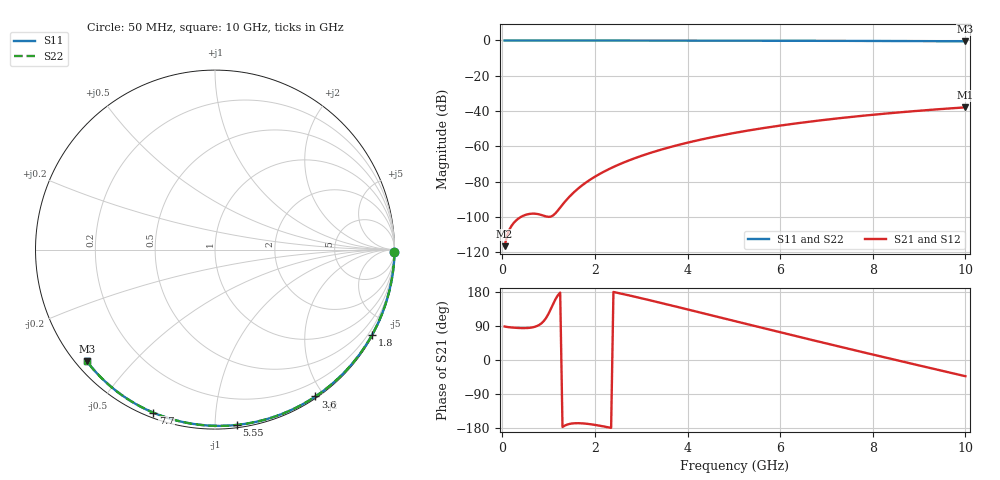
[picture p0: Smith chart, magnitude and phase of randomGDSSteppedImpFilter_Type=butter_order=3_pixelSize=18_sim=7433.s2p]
! freq	dB(S11)	phase(S11)	dB(S12)	phase(S12)
!  dB(S21)	phase(S21)	dB(S22)	phase(S22)
!S-par simulation data
#  GHz  S  DB  R 50
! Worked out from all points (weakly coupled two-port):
!   200 points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, 50 MHz to 10 GHz, reference 50 ohm
!   highest |S21| = -37.86 dB at 10 GHz (marker M1); lowest = -116.4 dB at 50 MHz (marker M2)
!   lowest |S11| = -0.5 dB at 10 GHz (marker M3), VSWR 37.01, Z = 1.54 - j18.7 ohm
!   |S11| at or under -10 dB: nowhere
!   |S22| runs from -0.5 to 0.0 dB; largest |S21 - S12| = 0
!   S11 on the Smith chart (normalised r, x): 50 MHz: open; 1.8 GHz: 0.03, -3.94; 3.6 GHz: 0.02, -1.89; 5.55 GHz: 0.02, -1.13; 7.7 GHz: 0.02, -0.69; 10 GHz: 0.03, -0.37
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0.05  -0.00 -0.8  -116.44 88.4  -116.44 88.4  -0.00 -0.8
0.45  -0.01 -7.2  -99.25 84.1  -99.25 84.1  -0.01 -7.2
0.9  -0.02 -14.4  -99.24 103.4  -99.24 103.4  -0.02 -14.4
1.75  -0.04 -27.7  -81.49 -167.4  -81.49 -167.4  -0.04 -27.7
1.8  -0.04 -28.5  -80.53 -168.0  -80.53 -168.0  -0.04 -28.5
1.85  -0.04 -29.3  -79.63 -168.6  -79.63 -168.6  -0.04 -29.3
2.05  -0.04 -32.4  -76.34 -172.2  -76.34 -172.2  -0.04 -32.4
2.25  -0.05 -35.4  -73.51 -176.7  -73.51 -176.7  -0.05 -35.4
2.55  -0.05 -40.0  -69.86 175.6  -69.86 175.6  -0.05 -40.0
2.95  -0.06 -46.0  -65.81 164.5  -65.81 164.5  -0.06 -46.0
3.4  -0.07 -52.7  -62.02 151.4  -62.02 151.4  -0.07 -52.7
3.6  -0.07 -55.6  -60.54 145.5  -60.54 145.5  -0.07 -55.6
3.9  -0.08 -60.0  -58.49 136.5  -58.49 136.5  -0.08 -60.0
4.3  -0.09 -65.7  -56.05 124.5  -56.05 124.5  -0.09 -65.7
5.05  -0.12 -76.2  -52.16 101.8  -52.16 101.8  -0.12 -76.2
5.55  -0.14 -83.0  -49.96 86.8  -49.96 86.8  -0.14 -83.0
6.1  -0.16 -90.3  -47.82 70.3  -47.82 70.3  -0.16 -90.3
6.7  -0.19 -98.1  -45.76 52.5  -45.76 52.5  -0.19 -98.1
7.7  -0.25 -110.8  -42.84 23.1  -42.84 23.1  -0.25 -110.8
8.35  -0.30 -118.8  -41.22 4.3  -41.22 4.3  -0.30 -118.8
9.2  -0.38 -129.2  -39.37 -20.1  -39.37 -20.1  -0.38 -129.2
10  -0.47 -138.9  -37.86 -42.8  -37.86 -42.8  -0.47 -138.9
